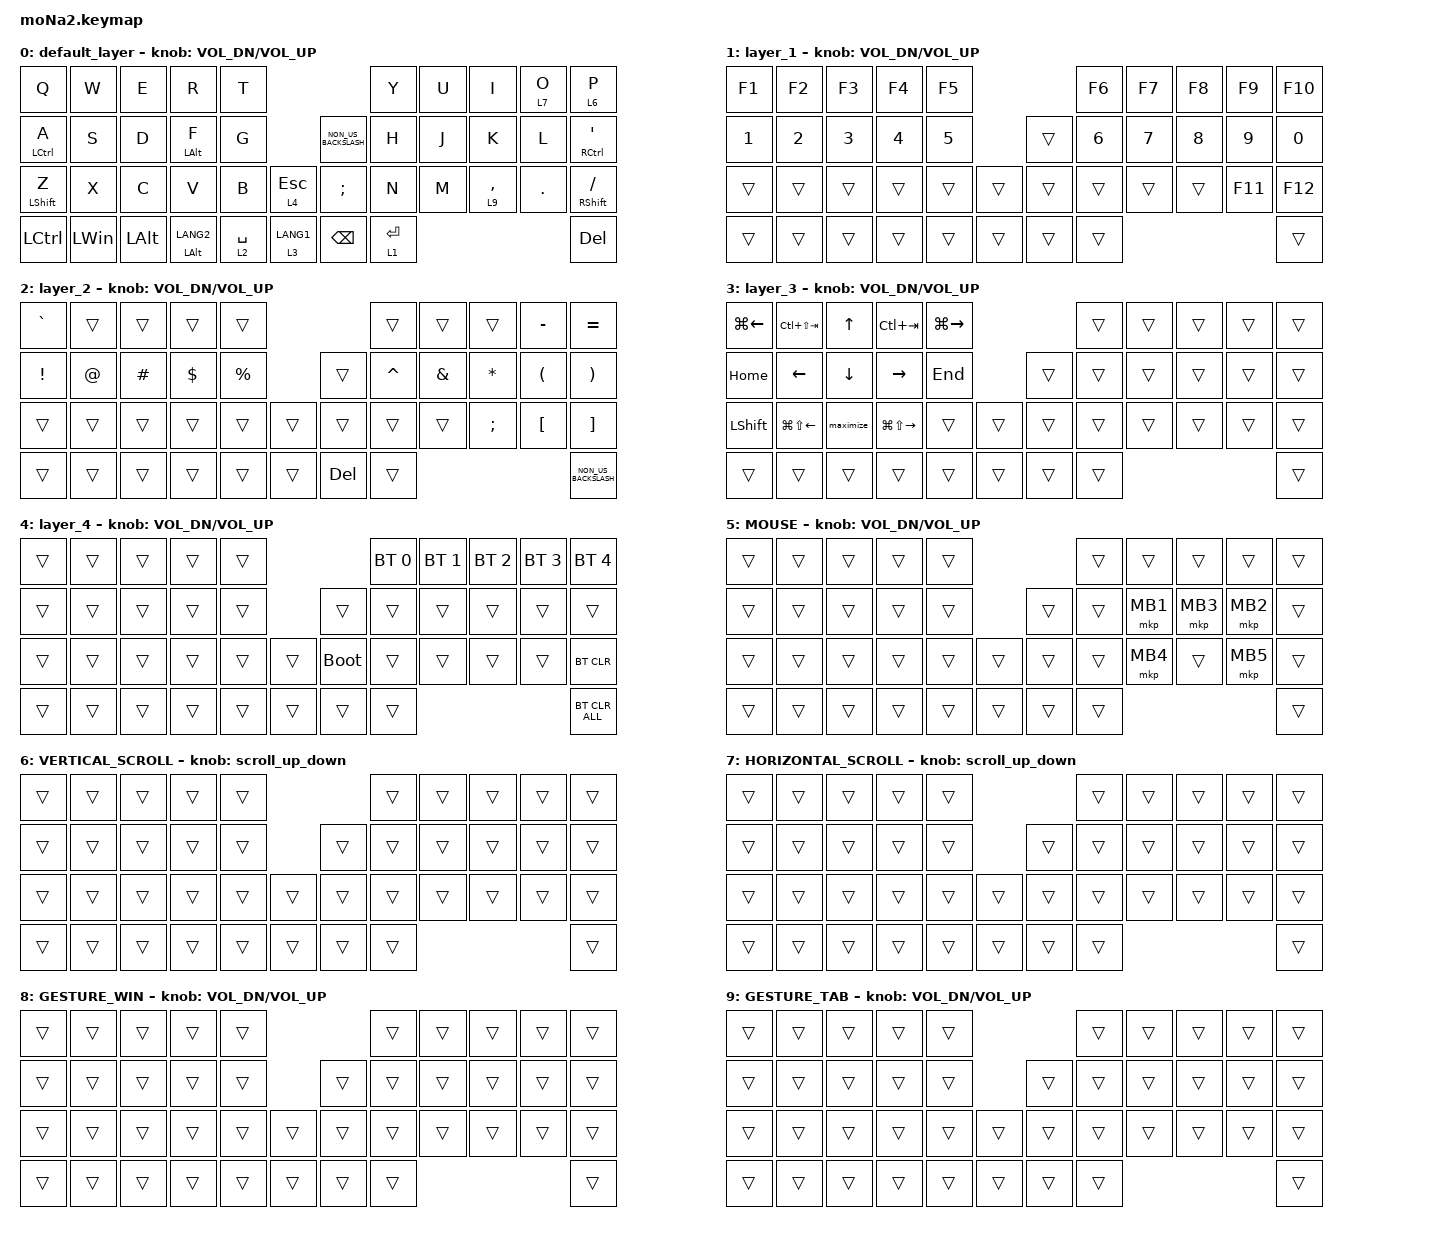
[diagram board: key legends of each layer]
#include <input/processors.dtsi>
#include <mouse-gesture.dtsi>
#include <behaviors.dtsi>
#include <dt-bindings/zmk/bt.h>
#include <dt-bindings/zmk/keys.h>
#include <dt-bindings/zmk/pointing.h>

#define ZMK_POINTING_DEFAULT_SCRL_VAL 100
#define MOUSE 5
#define SCROLL 6
#define GESTURE_WIN 8
#define GESTURE_TAB 9

&mt {
    flavor = "balanced";
    quick-tap-ms = <0>;
    tapping-term-ms = <160>;
};

&lt { tapping-term-ms = <160>; };

// マウスキーを押したらタイムアウトを延長する

&mkp_input_listener { input-processors = <&zip_temp_layer 5 10000>; };

/ {
    combos {
        compatible = "zmk,combos";

        tab {
            bindings = <&kp TAB>;
            key-positions = <17 18>;
        };

        esc {
            bindings = <&kp ESCAPE>;
            key-positions = <13 12>;
        };

        gesture_win {
            bindings = <&mo 8>;
            key-positions = <18 19>;
        };
    };

    macros {
        to_layer_0: to_layer_0 {
            compatible = "zmk,behavior-macro-one-param";
            #binding-cells = <1>;
            bindings = <&to 0 &macro_param_1to1 &kp MACRO_PLACEHOLDER>;
            label = "TO_LAYER_0";
        };

        maximize: maximize {
            compatible = "zmk,behavior-macro";
            #binding-cells = <0>;
            wait-ms = <40>;
            tap-ms = <40>;
            bindings
                = <&macro_tap &kp LA(SPACE)>
                , <&macro_wait_time 80>
                , <&macro_tap &kp X>;
            label = "MAXIMIZE";
        };
    };

    behaviors {
        lt_to_layer_0: lt_to_layer_0 {
            compatible = "zmk,behavior-hold-tap";
            label = "LAYER_TAP_TO_0";
            bindings = <&mo>, <&to_layer_0>;

            #binding-cells = <2>;
            tapping-term-ms = <160>;
        };

        scroll_up_down: behavior_sensor_rotate_mouse_wheel_up_down {
            compatible = "zmk,behavior-sensor-rotate";
            #sensor-binding-cells = <0>;
            bindings = <&msc SCRL_UP>, <&msc SCRL_DOWN>;

            tap-ms = <20>;
        };
    };

    keymap {
        compatible = "zmk,keymap";

        default_layer {
            bindings = <
&kp Q               &kp W         &kp E         &kp R               &kp T                                             &kp Y        &kp U  &kp I        &lt 7 O  &lt 6 P
&mt LEFT_CONTROL A  &kp S         &kp D         &mt LEFT_ALT F      &kp G                       &kp NON_US_BACKSLASH  &kp H        &kp J  &kp K        &kp L    &mt RIGHT_CONTROL SQT
&mt LEFT_SHIFT Z    &kp X         &kp C         &kp V               &kp B        &lt 4 ESC      &kp SEMICOLON         &kp N        &kp M  &lt 9 COMMA  &kp DOT  &mt RIGHT_SHIFT SLASH
&kp LCTRL           &kp LEFT_WIN  &kp LEFT_ALT  &mt LEFT_ALT LANG2  &lt 2 SPACE  &lt 3 LANG1    &kp BACKSPACE         &lt 1 ENTER                               &kp DEL
            >;

            sensor-bindings = <&inc_dec_kp C_VOL_DN C_VOL_UP>;
        };

        layer_1 {
            bindings = <
&kp F1        &kp F2        &kp F3        &kp F4        &kp F5                          &kp F6        &kp F7        &kp F8        &kp F9        &kp F10
&kp NUMBER_1  &kp NUMBER_2  &kp NUMBER_3  &kp NUMBER_4  &kp NUMBER_5            &trans  &kp NUMBER_6  &kp NUMBER_7  &kp NUMBER_8  &kp NUMBER_9  &kp NUMBER_0
&trans        &trans        &trans        &trans        &trans        &trans    &trans  &trans        &trans        &trans        &kp F11       &kp F12
&trans        &trans        &trans        &trans        &trans        &trans    &trans  &trans                                                  &trans
            >;

            sensor-bindings = <&inc_dec_kp C_VOL_DN C_VOL_UP>;
        };

        layer_2 {
            bindings = <
&kp GRAVE        &trans       &trans    &trans    &trans                           &trans     &trans    &trans         &kp MINUS             &kp EQUAL
&kp EXCLAMATION  &kp AT_SIGN  &kp HASH  &kp DLLR  &kp PRCNT            &trans      &kp CARET  &kp AMPS  &kp ASTRK      &kp LEFT_PARENTHESIS  &kp RIGHT_PARENTHESIS
&trans           &trans       &trans    &trans    &trans     &trans    &trans      &trans     &trans    &kp SEMICOLON  &kp LEFT_BRACKET      &kp RIGHT_BRACKET
&trans           &trans       &trans    &trans    &trans     &trans    &kp DELETE  &trans                                                    &kp NON_US_BACKSLASH
            >;

            sensor-bindings = <&inc_dec_kp C_VOL_DN C_VOL_UP>;
        };

        layer_3 {
            bindings = <
&kp LG(LEFT_ARROW)  &kp LC(LS(TAB))         &kp UP_ARROW      &kp LC(TAB)              &kp LG(RIGHT_ARROW)                    &trans  &trans  &trans  &trans  &trans
&kp HOME            &kp LEFT_ARROW          &kp DOWN_ARROW    &kp RIGHT_ARROW          &kp END                        &trans  &trans  &trans  &trans  &trans  &trans
&kp LEFT_SHIFT      &kp LG(LS(LEFT_ARROW))  &maximize         &kp LG(LS(RIGHT_ARROW))  &trans               &trans    &trans  &trans  &trans  &trans  &trans  &trans
&trans              &trans                  &trans            &trans                   &trans               &trans    &trans  &trans                          &trans
            >;

            sensor-bindings = <&inc_dec_kp C_VOL_DN C_VOL_UP>;
        };

        layer_4 {
            bindings = <
&trans  &trans  &trans  &trans  &trans                         &bt BT_SEL 0  &bt BT_SEL 1  &bt BT_SEL 2  &bt BT_SEL 3  &bt BT_SEL 4
&trans  &trans  &trans  &trans  &trans            &trans       &trans        &trans        &trans        &trans        &trans
&trans  &trans  &trans  &trans  &trans  &trans    &bootloader  &trans        &trans        &trans        &trans        &bt BT_CLR
&trans  &trans  &trans  &trans  &trans  &trans    &trans       &trans                                                  &bt BT_CLR_ALL
            >;

            sensor-bindings = <&inc_dec_kp C_VOL_DN C_VOL_UP>;
        };

        MOUSE {
            bindings = <
&trans  &trans  &trans  &trans  &trans                    &trans  &trans    &trans    &trans    &trans
&trans  &trans  &trans  &trans  &trans            &trans  &trans  &mkp MB1  &mkp MB3  &mkp MB2  &trans
&trans  &trans  &trans  &trans  &trans  &trans    &trans  &trans  &mkp MB4  &trans    &mkp MB5  &trans
&trans  &trans  &trans  &trans  &trans  &trans    &trans  &trans                                &trans
            >;

            sensor-bindings = <&inc_dec_kp C_VOL_DN C_VOL_UP>;
        };

        VERTICAL_SCROLL {
            bindings = <
&trans  &trans  &trans  &trans  &trans                    &trans  &trans  &trans  &trans  &trans
&trans  &trans  &trans  &trans  &trans            &trans  &trans  &trans  &trans  &trans  &trans
&trans  &trans  &trans  &trans  &trans  &trans    &trans  &trans  &trans  &trans  &trans  &trans
&trans  &trans  &trans  &trans  &trans  &trans    &trans  &trans                          &trans
            >;

            sensor-bindings = <&scroll_up_down>;
        };

        HORIZONTAL_SCROLL {
            bindings = <
&trans  &trans  &trans  &trans  &trans                    &trans  &trans  &trans  &trans  &trans
&trans  &trans  &trans  &trans  &trans            &trans  &trans  &trans  &trans  &trans  &trans
&trans  &trans  &trans  &trans  &trans  &trans    &trans  &trans  &trans  &trans  &trans  &trans
&trans  &trans  &trans  &trans  &trans  &trans    &trans  &trans                          &trans
            >;

            sensor-bindings = <&scroll_up_down>;
        };

        GESTURE_WIN {
            bindings = <
&trans  &trans  &trans  &trans  &trans                    &trans  &trans  &trans  &trans  &trans
&trans  &trans  &trans  &trans  &trans            &trans  &trans  &trans  &trans  &trans  &trans
&trans  &trans  &trans  &trans  &trans  &trans    &trans  &trans  &trans  &trans  &trans  &trans
&trans  &trans  &trans  &trans  &trans  &trans    &trans  &trans                          &trans
            >;

            sensor-bindings = <&inc_dec_kp C_VOL_DN C_VOL_UP>;
        };

        GESTURE_TAB {
            bindings = <
&trans  &trans  &trans  &trans  &trans                    &trans  &trans  &trans  &trans  &trans
&trans  &trans  &trans  &trans  &trans            &trans  &trans  &trans  &trans  &trans  &trans
&trans  &trans  &trans  &trans  &trans  &trans    &trans  &trans  &trans  &trans  &trans  &trans
&trans  &trans  &trans  &trans  &trans  &trans    &trans  &trans                          &trans
            >;

            sensor-bindings = <&inc_dec_kp C_VOL_DN C_VOL_UP>;
        };
    };
};
